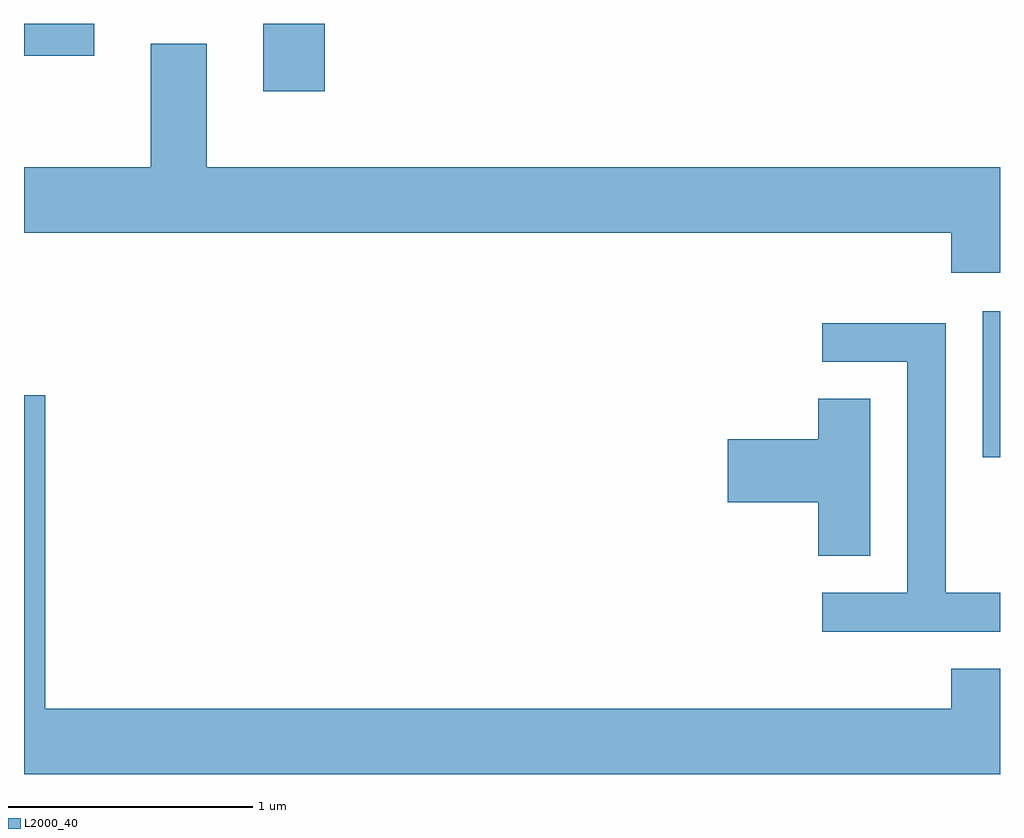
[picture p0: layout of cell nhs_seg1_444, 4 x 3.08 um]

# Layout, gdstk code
import gdstk
lib = gdstk.Library(unit=1e-6, precision=1e-09)
def R(c, l, rs):  # rectangles x0, y0, x1, y1
    for r in rs: c.add(gdstk.rectangle(r[:2], r[2:], *l))
def P(c, l, *ps):  # polygons
    for p in ps: c.add(gdstk.Polygon(p, *l))
L2000_40 = (2000, 40)

nhs_seg1_444 = lib.new_cell('nhs_seg1_444')
R(nhs_seg1_444, L2000_40, [(201.541,951.936,201.611,952.534), (198.591,953.436,198.844,953.712), (197.611,953.581,197.899,953.712)])
P(nhs_seg1_444, L2000_40, [(201.611,953.124),(198.359,953.124),(198.359,953.629),(198.131,953.629),(198.131,953.124),(197.611,953.124),(197.611,952.856),(201.411,952.856),(201.411,952.691),(201.611,952.691)],
  [(201.611,951.379),(201.389,951.379),(201.389,952.484),(200.883,952.484),(200.883,952.326),(201.231,952.326),(201.231,951.379),(200.883,951.379),(200.883,951.221),(201.611,951.221)],
  [(201.611,951.069),(201.411,951.069),(201.411,950.904),(197.699,950.904),(197.699,952.189),(197.611,952.189),(197.611,950.636),(201.611,950.636)],
  [(201.079,952.174),(200.866,952.174),(200.866,952.009),(200.496,952.009),(200.496,951.751),(200.866,951.751),(200.866,951.531),(201.079,951.531)])

lib.write_gds('nhs_seg1_444.gds')
